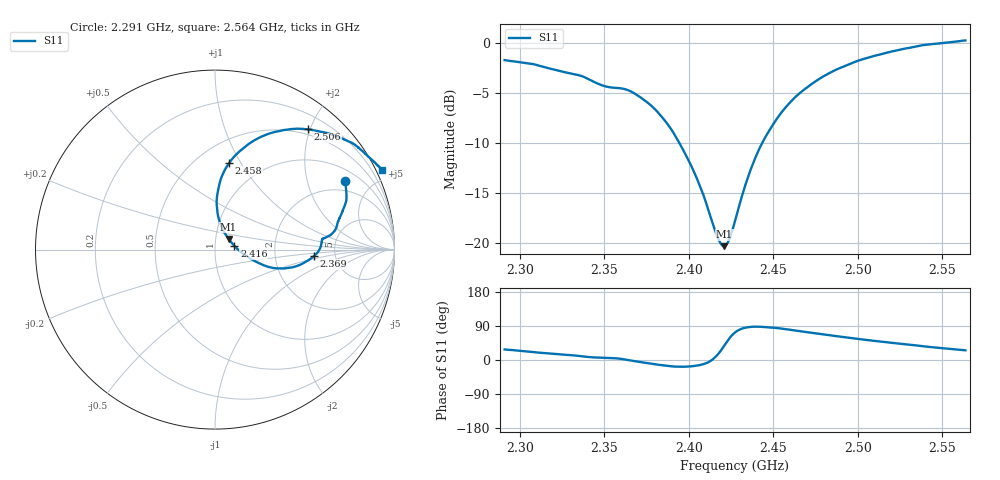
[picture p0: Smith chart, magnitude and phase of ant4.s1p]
!Agilent Technologies,N5230A,MY46400454,A.06.04.21
!Agilent N5230A: A.06.04.21
!Date: Sunday, October 28, 2018 12:15:16
!Correction: S11(Full 1 Port(1))
!S1P File: Measurement: S11:
# Hz S  dB  R 50
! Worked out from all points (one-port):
!   1601 points, 2.291 GHz to 2.564 GHz, reference 50 ohm
!   lowest |S11| = -20.3 dB at 2.421 GHz (marker M1), VSWR 1.21, Z = 57.7 + j6.93 ohm
!   |S11| at or under -10 dB: 2.394 GHz to 2.443 GHz (49.06 MHz wide, 2.03 % of centre)
!   S11 on the Smith chart (normalised r, x): 2.291 GHz: 1.46, +3.46; 2.369 GHz: 3.44, -0.35; 2.416 GHz: 1.24, +0.05; 2.458 GHz: 0.70, +0.89; 2.506 GHz: 0.42, +1.97; 2.564 GHz: -0.31, +4.40
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2.290884e9  -1.71 27.8
2.308274e9  -2.13 20.8
2.324982e9  -2.85 14.6
2.336065e9  -3.27 10.1
2.342373e9  -3.76 7.2
2.350557e9  -4.34 5.8
2.359081e9  -4.52 3.4
2.368629e9  -5.13 -3.6
2.381246e9  -6.86 -12.1
2.39318e9  -9.65 -17.8
2.400511e9  -11.99 -17.0
2.405626e9  -13.94 -14.2
2.416367e9  -19.17 10.9
2.418925e9  -20.10 24.9
2.420971e9  -20.34 38.2
2.423699e9  -19.74 55.7
2.427279e9  -17.83 72.7
2.434099e9  -13.86 85.9
2.441089e9  -10.79 87.9
2.449784e9  -8.16 85.4
2.45848e9  -6.20 80.6
2.461378e9  -5.69 78.9
2.478598e9  -3.44 68.2
2.495477e9  -2.08 58.3
2.506218e9  -1.44 52.3
2.529576e9  -0.50 40.8
2.542533e9  -0.13 34.4
2.563675e9  0.26 25.5
